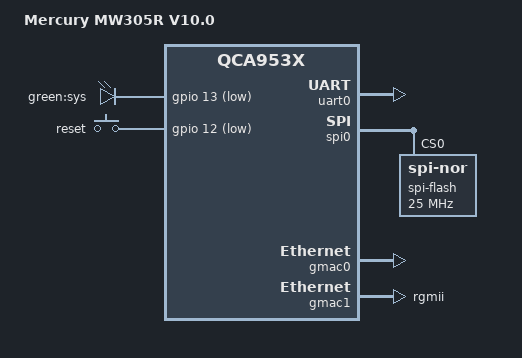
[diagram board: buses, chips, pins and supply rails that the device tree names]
// SPDX-License-Identifier: GPL-2.0+
/*
 * Copyright (C) 2026
 *
 * Mercury MW305R V10.0
 * SoC: Qualcomm Atheros QCA953X
 *
 * GPIO layout:
 *   GPIO12 — reset button (active-low)
 *   GPIO13 — sys LED
 *   GPIO14 — lan1 LED
 *   GPIO15 — lan2 LED
 *   GPIO16 — lan3 LED
 *   GPIO17 — wan LED
 */

/dts-v1/;

#include "qca953x.dtsi"
#include <dt-bindings/gpio/gpio.h>
#include <dt-bindings/input/input.h>

/ {
	model = "Mercury MW305R V10.0";
	compatible = "mercury,mw305r-v10", "qca,qca953x";

	aliases {
		spi0 = &spi0;
		serial0 = &uart0;
	};

	chosen {
		stdout-path = "serial0:115200n8";
	};

	config {
		blink_led = "green:sys";
		system_led = "green:sys";
	};

	leds {
		compatible = "gpio-leds";

		led_sys: sys {
			label = "green:sys";
			gpios = <&gpio 13 GPIO_ACTIVE_LOW>;
			default-state = "on";
		};
	};

	gpio-keys {
		compatible = "gpio-keys";

		reset {
			label = "reset";
			gpios = <&gpio 12 GPIO_ACTIVE_LOW>;
			linux,code = <KEY_RESTART>;
		};
	};
};

&xtal {
	clock-frequency = <25000000>;
};

&uart0 {
	status = "okay";
};

&spi0 {
	spi-max-frequency = <25000000>;
	status = "okay";

	spi-flash@0 {
		#address-cells = <1>;
		#size-cells = <1>;
		compatible = "jedec,spi-nor";
		memory-map = <0x9f000000 0x00800000>;
		spi-max-frequency = <25000000>;
		reg = <0>;
	};
};

&gmac0 {
	status = "okay";
};

&gmac1 {
	status = "okay";
	phy-mode = "rgmii";
};
